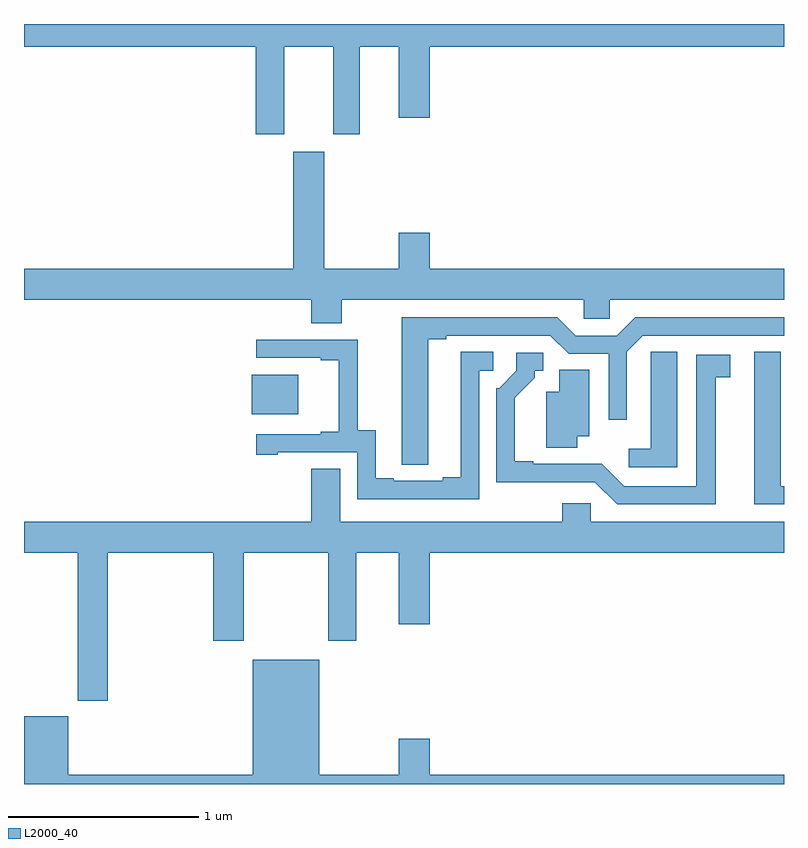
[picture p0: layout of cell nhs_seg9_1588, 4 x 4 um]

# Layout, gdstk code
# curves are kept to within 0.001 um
import gdstk
lib = gdstk.Library(unit=1e-6, precision=1e-09)
def R(c, l, rs):  # rectangles x0, y0, x1, y1
    for r in rs: c.add(gdstk.rectangle(r[:2], r[2:], *l))
def P(c, l, *ps):  # polygons
    for p in ps: c.add(gdstk.Polygon(p, *l))
L2000_40 = (2000, 40)

nhs_seg9_1588 = lib.new_cell('nhs_seg9_1588')
R(nhs_seg9_1588, L2000_40, [(200.198,1234.445,200.443,1234.654)])
P(nhs_seg9_1588, L2000_40, [(200.371,1236.38),(200.627,1236.38),(200.627,1235.919),(200.767,1235.919),(200.767,1236.38),(200.972,1236.38),(200.972,1236.006),(201.136,1236.006),(201.136,1236.38),(203,1236.38),(203,1236.5),(199,1236.5),(199,1236.38),(200.219,1236.38),(200.219,1235.919),(200.371,1235.919)],
  [(200.673,1235.048),(201.945,1235.048),(201.945,1234.95),(202.083,1234.95),(202.083,1235.048),(203,1235.048),(203,1235.212),(201.136,1235.212),(201.136,1235.401),(200.972,1235.401),(200.972,1235.212),(200.581,1235.212),(200.581,1235.827),(200.417,1235.827),(200.417,1235.212),(199,1235.212),(199,1235.048),(200.513,1235.048),(200.513,1234.924),(200.673,1234.924)],
  [(201.127,1234.84),(201.223,1234.84),(201.223,1234.86),(201.771,1234.86),(201.867,1234.764),(202.077,1234.764),(202.077,1234.416),(202.173,1234.416),(202.173,1234.776),(202.257,1234.86),(203,1234.86),(203,1234.956),(202.217,1234.956),(202.121,1234.86),(201.903,1234.86),(201.807,1234.956),(200.987,1234.956),(200.988,1234.18),(201.127,1234.18)],
  [(201.396,1234.674),(201.469,1234.674),(201.469,1234.775),(201.299,1234.775),(201.299,1234.115),(201.203,1234.115),(201.203,1234.095),(200.947,1234.095),(200.947,1234.11),(200.851,1234.11),(200.851,1234.361),(200.757,1234.361),(200.757,1234.839),(200.223,1234.839),(200.223,1234.743),(200.561,1234.743),(200.561,1234.731),(200.657,1234.731),(200.657,1234.354),(200.561,1234.354),(200.561,1234.341),(200.223,1234.341),(200.223,1234.233),(200.335,1234.233),(200.335,1234.245),(200.754,1234.245),(200.754,1233.999),(201.396,1233.999)],
  [(202.438,1234.775),(202.299,1234.775),(202.299,1234.667),(202.298,1234.667),(202.298,1234.264),(202.182,1234.264),(202.182,1234.167),(202.438,1234.167)],
  [(203,1234.068),(202.984,1234.068),(202.984,1234.774),(202.844,1234.774),(202.844,1233.972),(203,1233.972)],
  [(202.642,1234.642),(202.717,1234.642),(202.717,1234.758),(202.538,1234.758),(202.538,1234.068),(202.158,1234.068),(202.04,1234.186),(201.679,1234.185),(201.679,1234.198),(201.583,1234.198),(201.583,1234.534),(201.688,1234.639),(201.688,1234.674),(201.733,1234.674),(201.733,1234.77),(201.591,1234.77),(201.591,1234.674),(201.501,1234.584),(201.486,1234.584),(201.486,1234.088),(202.005,1234.089),(202.122,1233.972),(202.642,1233.972)],
  [(201.913,1234.331),(201.976,1234.331),(201.976,1234.679),(201.818,1234.679),(201.818,1234.564),(201.749,1234.564),(201.749,1234.27),(201.913,1234.27)],
  [(201.833,1233.978),(201.833,1233.88),(200.665,1233.88),(200.665,1234.16),(200.513,1234.16),(200.513,1233.88),(199,1233.88),(199,1233.716),(199.282,1233.716),(199.282,1232.937),(199.442,1232.937),(199.442,1233.716),(199.997,1233.716),(199.997,1233.255),(200.157,1233.255),(200.157,1233.716),(200.602,1233.716),(200.602,1233.255),(200.749,1233.255),(200.749,1233.716),(200.972,1233.716),(200.972,1233.342),(201.136,1233.342),(201.136,1233.716),(203,1233.716),(203,1233.88),(201.984,1233.88),(201.984,1233.978)],
  [(203,1232.548),(201.136,1232.548),(201.136,1232.737),(200.972,1232.737),(200.972,1232.548),(200.554,1232.548),(200.554,1233.154),(200.204,1233.154),(200.204,1232.548),(199.234,1232.548),(199.234,1232.857),(199,1232.857),(199,1232.5),(203,1232.5)])

lib.write_gds('nhs_seg9_1588.gds')
